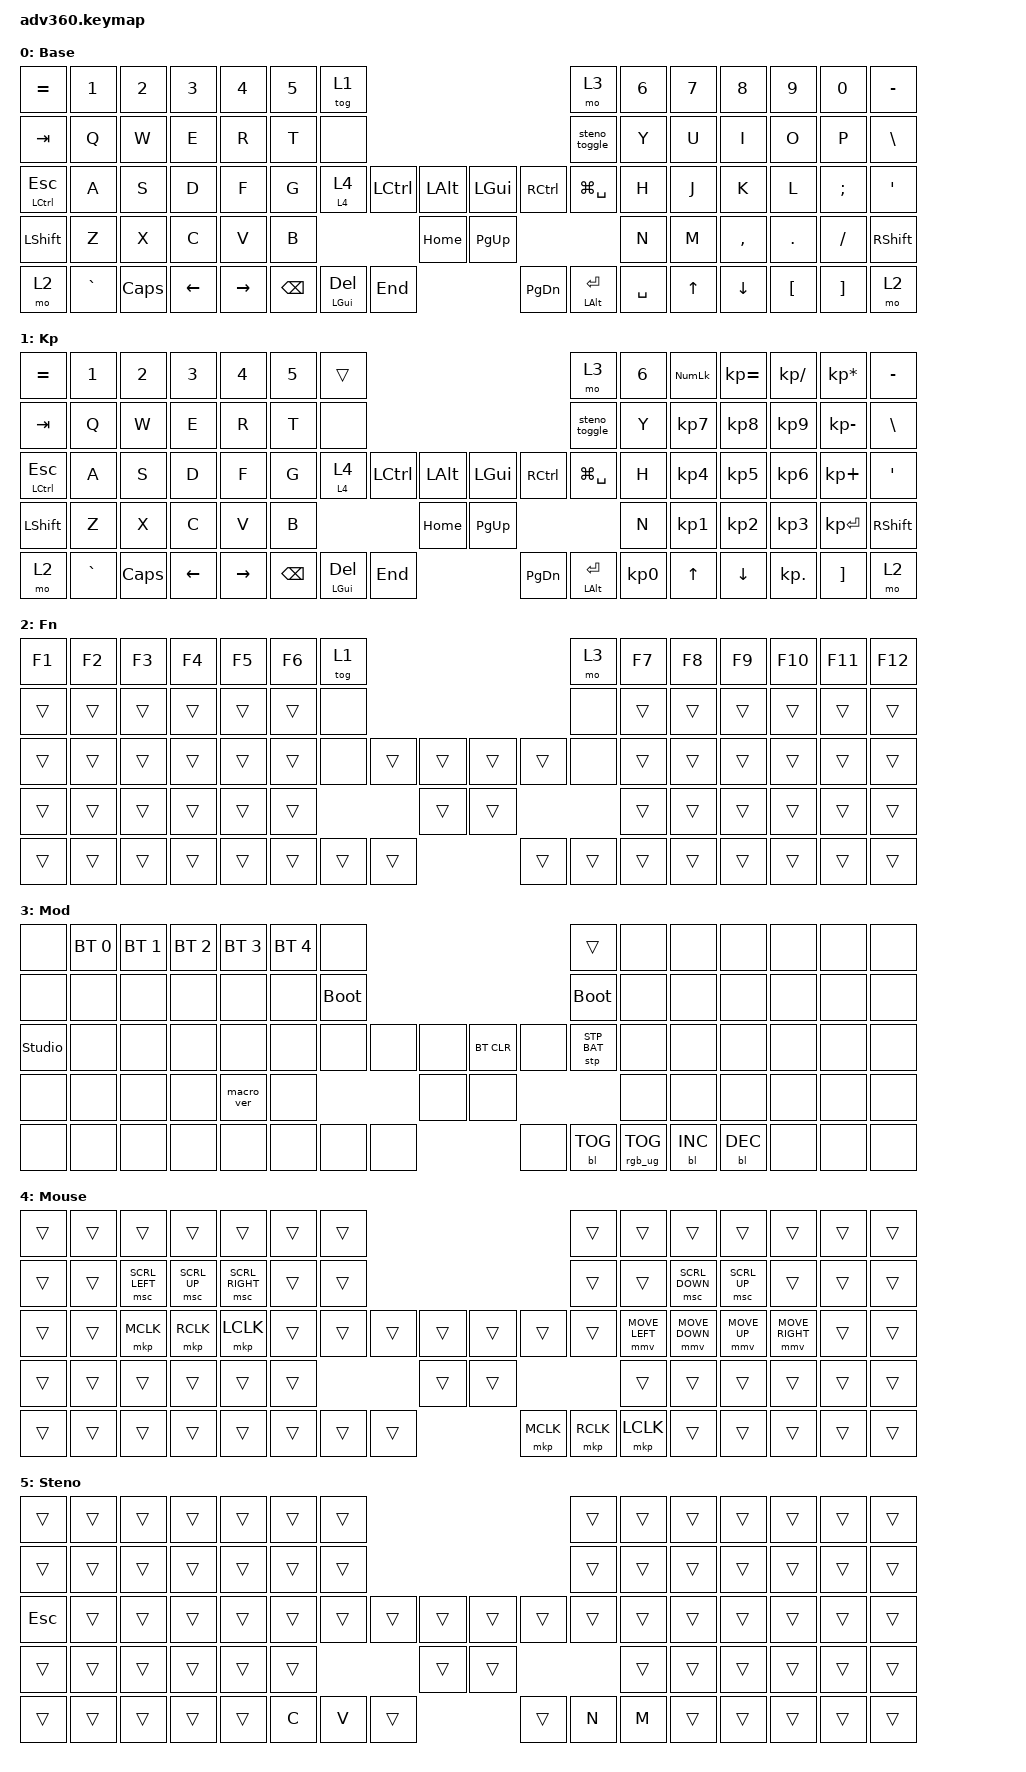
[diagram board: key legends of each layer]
#include <behaviors.dtsi>
#include <dt-bindings/zmk/keys.h>
#include <dt-bindings/zmk/bt.h>
#include <dt-bindings/zmk/rgb.h>
#include <dt-bindings/zmk/stp.h>
#include <dt-bindings/zmk/backlight.h>
#include <dt-bindings/zmk/pointing.h>

/* Hold-tap keys (&mt): count as the modifier only if another key is
   pressed and released while held. Fast typing ("Esc :" in vim) stays Esc. */
&mt {
    flavor = "balanced";
    tapping-term-ms = <200>;
};

/ {
    behaviors {
      #include "macros.dtsi"
      #include "version.dtsi"

      hm: homerow_mods {
          compatible = "zmk,behavior-hold-tap";
          label = "HOMEROW_MODS";
          #binding-cells = <2>;
          tapping-term-ms = <200>;
          quick_tap_ms = <175>;
          flavor = "tap-preferred";
          bindings = <&kp>, <&kp>;
      };

      // Steno on/off: toggle the steno layer (5) and send Super+Shift+P,
      // which i3 maps to "plover_send_command toggle".
      steno_toggle: steno_toggle {
          compatible = "zmk,behavior-macro";
          #binding-cells = <0>;
          bindings = <&tog 5 &kp LG(LS(P))>;
      };

      // Mouse layer: hold = on while held, tap = stays on until tapped again.
      mo_tog: mo_tog {
          compatible = "zmk,behavior-hold-tap";
          #binding-cells = <2>;
          flavor = "hold-preferred";
          tapping-term-ms = <200>;
          bindings = <&mo>, <&tog>;
      };

      // Types "->" (used by the . + / combo below)
      arrow: arrow {
          compatible = "zmk,behavior-macro";
          #binding-cells = <0>;
          bindings = <&kp MINUS &kp GT>;
      };
    };

    // Press . and / together for "->" (Base and Keypad layers only).
    // Short timeout and prior-idle, so typing "./" or "../" normally does not trigger it.
    combos {
      compatible = "zmk,combos";
      combo_arrow {
          timeout-ms = <35>;
          require-prior-idle-ms = <150>;
          key-positions = <57 58>;
          bindings = <&arrow>;
          layers = <0 1>;
      };

      // J + K together = left click (hold both to drag), K + L = right click.
      // For pointing with a trackball on the left while staying on the base layer.
      combo_lclick {
          timeout-ms = <35>;
          require-prior-idle-ms = <150>;
          key-positions = <41 42>;
          bindings = <&mkp LCLK>;
          layers = <0>;
      };
      combo_rclick {
          timeout-ms = <35>;
          require-prior-idle-ms = <150>;
          key-positions = <42 43>;
          bindings = <&mkp RCLK>;
          layers = <0>;
      };

      // U + I together = middle click (hold both + move = drag the canvas in Lorien,
      // middle-click paste / open link in new tab elsewhere).
      combo_mclick {
          timeout-ms = <35>;
          require-prior-idle-ms = <150>;
          key-positions = <23 24>;
          bindings = <&mkp MCLK>;
          layers = <0>;
      };
    };

  keymap {
    compatible = "zmk,keymap";

    default_layer {
      display-name = "Base";
      bindings = <
        &kp EQUAL &kp N1    &kp N2   &kp N3   &kp N4     &kp N5 &tog 1                                                           &mo 3 &kp N6 &kp N7 &kp N8    &kp N9   &kp N0   &kp MINUS
        &kp TAB   &kp Q     &kp W    &kp E    &kp R      &kp T  &none                                                            &steno_toggle &kp Y  &kp U  &kp I    &kp O    &kp P    &kp BSLH
        &mt LCTRL ESC &kp A     &kp S    &kp D    &kp F      &kp G  &mo_tog 4 4           &kp LCTRL &kp LALT &kp LGUI  &kp RCTRL           &kp LG(SPACE) &kp H  &kp J &kp K     &kp L    &kp SEMI &kp SQT
        &kp LSHFT &kp Z     &kp X    &kp C    &kp V      &kp B                            &kp HOME &kp PG_UP                           &kp N  &kp M  &kp COMMA &kp DOT  &kp FSLH &kp RSHFT
        &mo 2     &kp GRAVE &kp CAPS &kp LEFT &kp RIGHT                &kp BSPC &mt LGUI DEL &kp END  &kp PG_DN &mt LALT ENTER &kp SPACE              &kp UP &kp DOWN  &kp LBKT &kp RBKT &mo 2
      >;
    };
    keypad {
      display-name = "Kp";
      bindings = <
        &kp EQUAL &kp N1    &kp N2   &kp N3   &kp N4     &kp N5 &trans                                                           &mo 3 &kp N6 &kp KP_NUM &kp KP_EQUAL &kp KP_DIVIDE &kp KP_MULTIPLY &kp MINUS
        &kp TAB   &kp Q     &kp W    &kp E    &kp R      &kp T  &none                                                            &steno_toggle &kp Y  &kp KP_N7  &kp KP_N8    &kp KP_N9     &kp KP_MINUS    &kp BSLH
        &mt LCTRL ESC &kp A     &kp S    &kp D    &kp F      &kp G  &mo_tog 4 4           &kp LCTRL &kp LALT &kp LGUI  &kp RCTRL           &kp LG(SPACE) &kp H  &kp KP_N4  &kp KP_N5    &kp KP_N6     &kp KP_PLUS     &kp SQT
        &kp LSHFT &kp Z     &kp X    &kp C    &kp V      &kp B                            &kp HOME &kp PG_UP                           &kp N  &kp KP_N1  &kp KP_N2    &kp KP_N3     &kp KP_ENTER    &kp RSHFT
        &mo 2     &kp GRAVE &kp CAPS &kp LEFT &kp RIGHT                &kp BSPC &mt LGUI DEL &kp END  &kp PG_DN &mt LALT ENTER &kp KP_N0              &kp UP     &kp DOWN     &kp KP_DOT    &kp RBKT        &mo 2
      >;
    };
    fn {
      display-name = "Fn";
      bindings = <
        &kp F1 &kp F2 &kp F3 &kp F4 &kp F5 &kp F6 &tog 1                                           &mo 3 &kp F7 &kp F8 &kp F9 &kp F10 &kp F11 &kp F12
        &trans &trans &trans &trans &trans &trans  &none                                           &none &trans &trans &trans &trans  &trans  &trans
        &trans &trans &trans &trans &trans &trans  &none        &trans &trans &trans &trans        &none &trans &trans &trans &trans  &trans  &trans
        &trans &trans &trans &trans &trans &trans                      &trans &trans                     &trans &trans &trans &trans  &trans  &trans
        &trans &trans &trans &trans &trans               &trans &trans &trans &trans &trans &trans              &trans &trans &trans  &trans  &trans
      >;
    };
    mod {
      display-name = "Mod";
      bindings = <
        &none &bt BT_SEL 0 &bt BT_SEL 1 &bt BT_SEL 2 &bt BT_SEL 3 &bt BT_SEL 4 &none                                                                     &trans                 &none        &none        &none        &none &none &none
        &none &none        &none        &none        &none        &none        &bootloader                                                               &bootloader            &none        &none        &none        &none &none &none
        &studio_unlock &none        &none        &none        &none        &none        &none                   &none &none &bt BT_CLR &none                      &stp STP_BAT &none        &none        &none        &none &none &none
        &none &none        &none        &none        &macro_ver   &none                                      &none &none                                                        &none        &none        &none        &none &none &none
        &none &none        &none        &none        &none                                       &none &none &none &none      &bl BL_TOG &rgb_ug RGB_TOG                                     &bl BL_INC   &bl BL_DEC   &none &none &none
      >;
    };
    mouse {
      display-name = "Mouse";
      // Inner key right of G: hold = on while held, tap = stays on. Right hand:
      // hjkl moves the pointer, U/I scroll, big thumbs (Space, Enter) left and
      // right click, PgDn middle click. Left hand: F left click, D right click,
      // S middle click, W/E/R scroll left/up/right.
      bindings = <
        &trans &trans &trans &trans &trans &trans &trans                                           &trans &trans &trans &trans &trans &trans &trans
        &trans &trans &msc SCRL_LEFT &msc SCRL_UP &msc SCRL_RIGHT &trans &trans                                           &trans &trans &msc SCRL_DOWN &msc SCRL_UP &trans &trans &trans
        &trans &trans &mkp MCLK &mkp RCLK &mkp LCLK &trans &trans        &trans &trans &trans &trans        &trans &mmv MOVE_LEFT &mmv MOVE_DOWN &mmv MOVE_UP &mmv MOVE_RIGHT &trans &trans
        &trans &trans &trans &trans &trans &trans                      &trans &trans                     &trans &trans &trans &trans &trans &trans
        &trans &trans &trans &trans &trans               &trans &trans &trans &mkp MCLK &mkp RCLK &mkp LCLK              &trans &trans &trans &trans &trans
      >;
    };

    steno {
      display-name = "Steno";
      // Toggled by the inner key left of Y (with Plover). Big thumb keys send
      // C V N M, Plover's vowel keys A O E U, without hold-tap; the rest is QWERTY.
      bindings = <
        &trans &trans &trans &trans &trans &trans &trans                                           &trans &trans &trans &trans &trans &trans &trans
        &trans &trans &trans &trans &trans &trans &trans                                           &trans &trans &trans &trans &trans &trans &trans
        &kp ESC &trans &trans &trans &trans &trans &trans        &trans &trans &trans &trans        &trans &trans &trans &trans &trans &trans &trans
        &trans &trans &trans &trans &trans &trans                      &trans &trans                     &trans &trans &trans &trans &trans &trans
        &trans &trans &trans &trans &trans               &kp C &kp V &trans &trans &kp N &kp M              &trans &trans &trans &trans &trans
      >;
    };

    extra3 { 
      display-name = "Cyan";    
      status = "reserved";
    };

    extra4 { 
      display-name = "Yellow";    
      status = "reserved";
    };
  };
};
